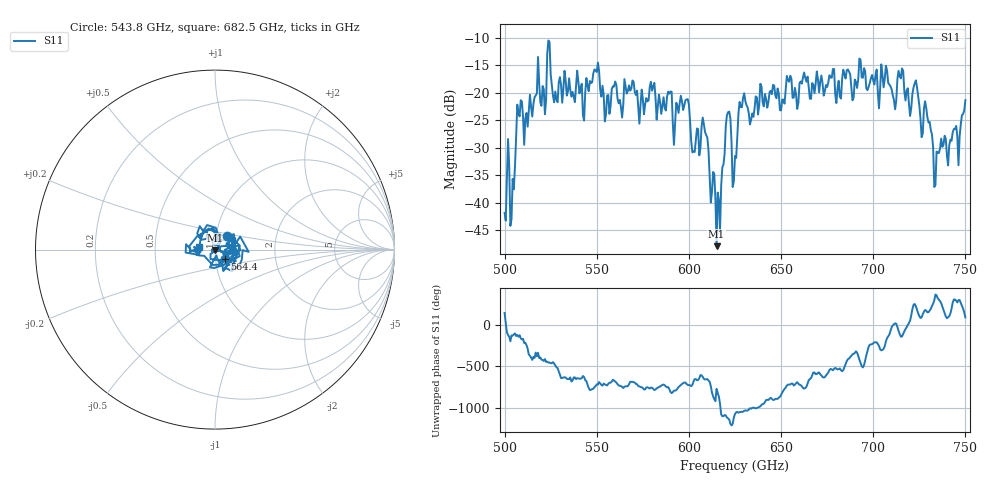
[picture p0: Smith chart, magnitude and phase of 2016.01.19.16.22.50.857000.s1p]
!Created with skrf (http://scikit-rf.org).
# GHz S RI R 50.0
!freq ReS11 ImS11
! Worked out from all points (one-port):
!   401 points, 500 GHz to 750 GHz, reference 50 ohm
!   lowest |S11| = -47.9 dB at 615 GHz (marker M1), VSWR 1.01, Z = 50.2 - j0.329 ohm
!   |S11| at or under -10 dB: start of sweep to end of sweep
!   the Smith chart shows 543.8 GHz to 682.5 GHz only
!   S11 on the Smith chart (normalised r, x): 543.8 GHz: 1.12, +0.18; 564.4 GHz: 1.11, -0.12; 682.5 GHz: 0.84, +0.03
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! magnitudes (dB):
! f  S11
! 500 GHz  -41.9
! 504.4 GHz  -35.7
! 508.1 GHz  -24.3
! 521.2 GHz  -19.4
! 524.4 GHz  -10.8
! 527.5 GHz  -19.8
! 531.2 GHz  -21.8
! 543.8 GHz  -19.9
! 550 GHz  -16.2
! 562.5 GHz  -21.3
! 564.4 GHz  -22.2
! 593.8 GHz  -22.4
! 598.8 GHz  -21.2
! 602.5 GHz  -30.7
! 608.8 GHz  -27.2
! 615 GHz  -47.9
! 616.2 GHz  -39.5
! 621.2 GHz  -23.5
! 625 GHz  -31.5
! 628.8 GHz  -22.6
! 656.2 GHz  -20.9
! 682.5 GHz  -21.1
! 687.5 GHz  -16.7
! 715 GHz  -17.4
! 718.8 GHz  -19.2
! 723.1 GHz  -17.8
! 734.4 GHz  -30.7
! 750 GHz  -21.4
